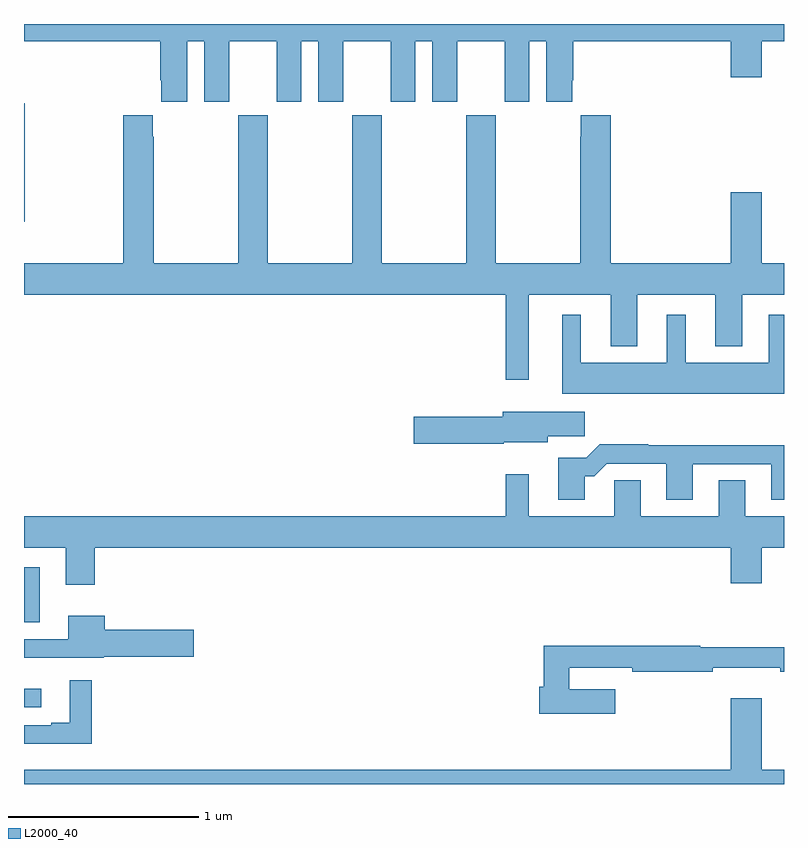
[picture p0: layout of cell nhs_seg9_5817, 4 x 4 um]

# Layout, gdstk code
import gdstk
lib = gdstk.Library(unit=1e-6, precision=1e-09)
def R(c, l, rs):  # rectangles x0, y0, x1, y1
    for r in rs: c.add(gdstk.rectangle(r[:2], r[2:], *l))
def P(c, l, *ps):  # polygons
    for p in ps: c.add(gdstk.Polygon(p, *l))
L2000_40 = (2000, 40)

nhs_seg9_5817 = lib.new_cell('nhs_seg9_5817')
R(nhs_seg9_5817, L2000_40, [(449,1204.905,449.092,1205.002), (449,1205.352,449.083,1205.641), (449,1207.459,449.003,1208.084)])
P(nhs_seg9_5817, L2000_40, [(449.86,1208.408),(449.948,1208.408),(449.948,1208.091),(450.079,1208.091),(450.079,1208.408),(450.329,1208.408),(450.329,1208.091),(450.46,1208.091),(450.46,1208.408),(450.548,1208.408),(450.548,1208.091),(450.679,1208.091),(450.679,1208.408),(450.929,1208.408),(450.929,1208.091),(451.06,1208.091),(451.06,1208.408),(451.148,1208.408),(451.148,1208.091),(451.279,1208.091),(451.279,1208.408),(451.529,1208.408),(451.529,1208.091),(451.66,1208.091),(451.66,1208.408),(451.748,1208.408),(451.748,1208.091),(451.885,1208.091),(451.885,1208.203),(451.892,1208.203),(451.892,1208.408),(452.72,1208.408),(452.72,1208.22),(452.884,1208.22),(452.884,1208.408),(453,1208.408),(453,1208.5),(449,1208.5),(449,1208.408),(449.717,1208.408),(449.717,1208.203),(449.723,1208.203),(449.723,1208.091),(449.86,1208.091)],
  [(451.657,1207.076),(452.087,1207.076),(452.087,1206.803),(452.227,1206.803),(452.227,1207.076),(452.639,1207.076),(452.639,1206.803),(452.779,1206.803),(452.779,1207.076),(453,1207.076),(453,1207.24),(452.884,1207.24),(452.884,1207.615),(452.72,1207.615),(452.72,1207.24),(452.087,1207.24),(452.087,1208.02),(451.931,1208.02),(451.931,1207.907),(451.927,1207.907),(451.927,1207.24),(451.482,1207.24),(451.482,1208.02),(451.327,1208.02),(451.327,1207.24),(450.882,1207.24),(450.882,1208.02),(450.727,1208.02),(450.727,1207.24),(450.282,1207.24),(450.282,1208.02),(450.127,1208.02),(450.127,1207.24),(449.682,1207.24),(449.682,1207.907),(449.677,1207.907),(449.677,1208.02),(449.522,1208.02),(449.522,1207.24),(449,1207.24),(449,1207.076),(451.536,1207.076),(451.536,1206.627),(451.657,1206.627)],
  [(453,1206.97),(452.921,1206.97),(452.921,1206.718),(452.482,1206.718),(452.482,1206.97),(452.384,1206.97),(452.384,1206.718),(451.93,1206.718),(451.93,1206.97),(451.832,1206.97),(451.832,1206.554),(453,1206.554)],
  [(451.524,1206.299),(451.756,1206.299),(451.756,1206.331),(451.951,1206.331),(451.951,1206.46),(451.52,1206.46),(451.52,1206.434),(451.05,1206.434),(451.05,1206.292),(451.524,1206.292)],
  [(451.951,1206.119),(452,1206.119),(452.067,1206.186),(452.381,1206.186),(452.381,1205.997),(452.521,1205.997),(452.521,1206.183),(452.933,1206.183),(452.933,1205.997),(453,1205.997),(453,1206.284),(452.285,1206.284),(452.285,1206.287),(452.03,1206.287),(451.96,1206.217),(451.811,1206.217),(451.811,1205.997),(451.951,1205.997)],
  [(449.372,1205.744),(452.72,1205.744),(452.72,1205.556),(452.884,1205.556),(452.884,1205.744),(453,1205.744),(453,1205.908),(452.797,1205.908),(452.797,1206.098),(452.657,1206.098),(452.657,1205.908),(452.245,1205.908),(452.245,1206.098),(452.106,1206.098),(452.106,1205.908),(451.657,1205.908),(451.657,1206.13),(451.536,1206.13),(451.536,1205.908),(449,1205.908),(449,1205.744),(449.219,1205.744),(449.219,1205.55),(449.372,1205.55)],
  [(449.421,1205.171),(449.893,1205.171),(449.893,1205.313),(449.425,1205.313),(449.425,1205.386),(449.234,1205.386),(449.234,1205.262),(449,1205.262),(449,1205.165),(449.421,1205.165)],
  [(452.113,1204.999),(451.871,1204.999),(451.871,1205.112),(452.2,1205.112),(452.2,1205.092),(452.624,1205.092),(452.624,1205.111),(452.98,1205.111),(452.98,1205.092),(453,1205.092),(453,1205.221),(452.558,1205.221),(452.558,1205.228),(451.735,1205.228),(451.735,1205.012),(451.712,1205.012),(451.712,1204.87),(452.113,1204.87)],
  [(449.357,1205.047),(449.24,1205.047),(449.24,1204.822),(449.144,1204.822),(449.144,1204.809),(449,1204.809),(449,1204.712),(449.357,1204.712)],
  [(449,1204.5),(453,1204.5),(453,1204.576),(452.884,1204.576),(452.884,1204.951),(452.72,1204.951),(452.72,1204.576),(449,1204.576)])

lib.write_gds('nhs_seg9_5817.gds')
